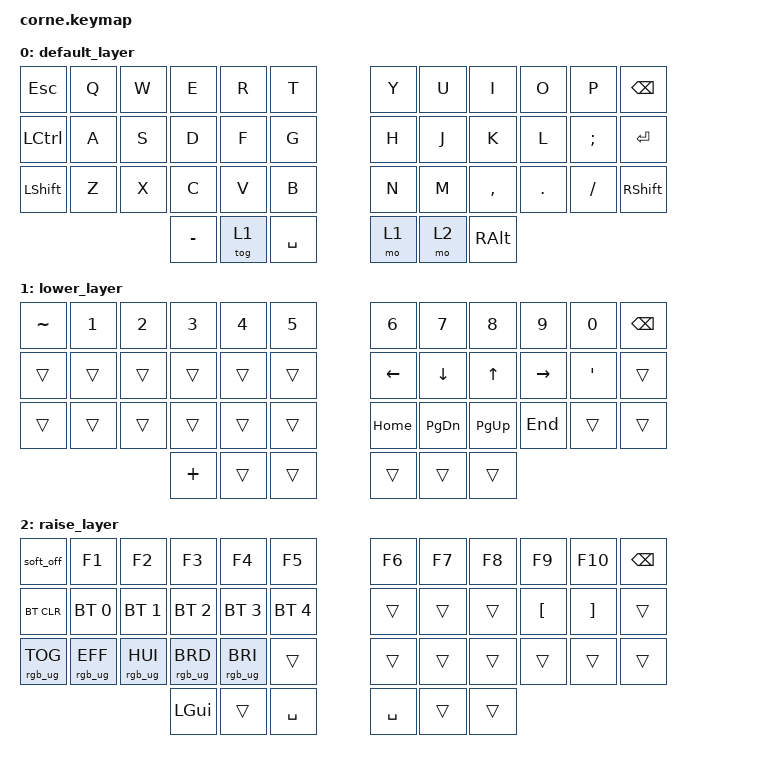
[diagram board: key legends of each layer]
/*
 * Copyright (c) 2020 The ZMK Contributors
 *
 * SPDX-License-Identifier: MIT
 */

#include <behaviors.dtsi>
#include <dt-bindings/zmk/bt.h>
#include <dt-bindings/zmk/keys.h>
#include <dt-bindings/zmk/rgb.h>

&led_strip {
    chain-length = <27>;

    // 21 backlight + 6 glowlight
};

/ {
    combos {
        compatible = "zmk,combos";

        korean {
            bindings = <&kp LS(SPACE)>;
            key-positions = <15 16>;
        };

        exit {
            bindings = <&kp LA(F4)>;
            key-positions = <0 1>;
        };

        tab {
            bindings = <&kp TAB>;
            key-positions = <37 36>;
        };

        ye {
            bindings = <&kp LS(P)>;
            key-positions = <9 10>;
        };

        kp_B {
            bindings = <&kp B>;
            key-positions = <30 31>;
        };

        Ftwo {
            bindings = <&kp F2>;
            key-positions = <2 3>;
        };

        celar {
            bindings = <&bt BT_CLR_ALL>;
            key-positions = <0 24 12>;
        };

        ctrl-c {
            bindings = <&kp LC(C)>;
            key-positions = <26 27>;
        };

        ctrl-x {
            bindings = <&kp LC(X)>;
            key-positions = <26 25>;
        };

        ctrl-v {
            bindings = <&kp LC(V)>;
            key-positions = <28 27>;
        };

        ctrl_A {
            bindings = <&kp LC(A)>;
            key-positions = <12 13>;
        };
    };

    keymap {
        compatible = "zmk,keymap";

        default_layer {
            // -----------------------------------------------------------------------------------------
            // |  TAB |  Q  |  W  |  E  |  R  |  T  |   |  Y  |  U   |  I  |  O  |  P  | BKSP |
            // | CTRL |  A  |  S  |  D  |  F  |  G  |   |  H  |  J   |  K  |  L  |  ;  |  '   |
            // | SHFT |  Z  |  X  |  C  |  V  |  B  |   |  N  |  M   |  ,  |  .  |  /  | ESC  |
            //                    | GUI | LWR | SPC |   | ENT | RSE  | ALT |

            bindings = <
&kp ESC         &kp Q  &kp W  &kp E      &kp R   &kp T        &kp Y  &kp U  &kp I          &kp O    &kp P     &kp BSPC
&kp LCTRL       &kp A  &kp S  &kp D      &kp F   &kp G        &kp H  &kp J  &kp K          &kp L    &kp SEMI  &kp ENTER
&kp LEFT_SHIFT  &kp Z  &kp X  &kp C      &kp V   &kp B        &kp N  &kp M  &kp COMMA      &kp DOT  &kp FSLH  &kp RIGHT_SHIFT
                              &kp MINUS  &tog 1  &kp SPACE    &mo 1  &mo 2  &kp RIGHT_ALT
            >;
        };

        lower_layer {
            // -----------------------------------------------------------------------------------------
            // |  TAB |  1  |  2  |  3  |  4  |  5  |   |  6  |  7  |  8  |  9  |  0  | BKSP |
            // | BTCLR| BT1 | BT2 | BT3 | BT4 | BT5 |   | LFT | DWN |  UP | RGT |     |      |
            // | SHFT |     |     |     |     |     |   |     |     |     |     |     |      |
            //                    | GUI |     | SPC |   | ENT |     | ALT |

            bindings = <
&kp TILDE  &kp N1  &kp N2  &kp N3    &kp N4  &kp N5    &kp N6    &kp N7         &kp N8       &kp N9     &kp N0          &kp BSPC
&trans     &trans  &trans  &trans    &trans  &trans    &kp LEFT  &kp DOWN       &kp UP       &kp RIGHT  &kp APOSTROPHE  &trans
&trans     &trans  &trans  &trans    &trans  &trans    &kp HOME  &kp PAGE_DOWN  &kp PAGE_UP  &kp END    &trans          &trans
                           &kp PLUS  &trans  &trans    &trans    &trans         &trans
            >;
        };

        raise_layer {
            // -----------------------------------------------------------------------------------------
            // |  TAB |  !  |  @  |  #  |  $  |  %  |   |  ^  |  &  |  *  |  (  |  )  | BKSP |
            // | CTRL |     |     |     |     |     |   |  -  |  =  |  [  |  ]  |  \  |  `   |
            // | SHFT |     |     |     |     |     |   |  _  |  +  |  {  |  }  | "|" |  ~   |
            //                    | GUI |     | SPC |   | ENT |     | ALT |

            bindings = <
&soft_off        &kp F1           &kp F2           &kp F3           &kp F4           &kp F5          &kp F6     &kp F7  &kp F8  &kp F9            &kp F10            &kp BSPC
&bt BT_CLR       &bt BT_SEL 0     &bt BT_SEL 1     &bt BT_SEL 2     &bt BT_SEL 3     &bt BT_SEL 4    &trans     &trans  &trans  &kp LEFT_BRACKET  &kp RIGHT_BRACKET  &trans
&rgb_ug RGB_TOG  &rgb_ug RGB_EFF  &rgb_ug RGB_HUI  &rgb_ug RGB_BRD  &rgb_ug RGB_BRI  &trans          &trans     &trans  &trans  &trans            &trans             &trans
                                                   &kp LGUI         &trans           &kp SPACE       &kp SPACE  &trans  &trans
            >;
        };
    };
};
